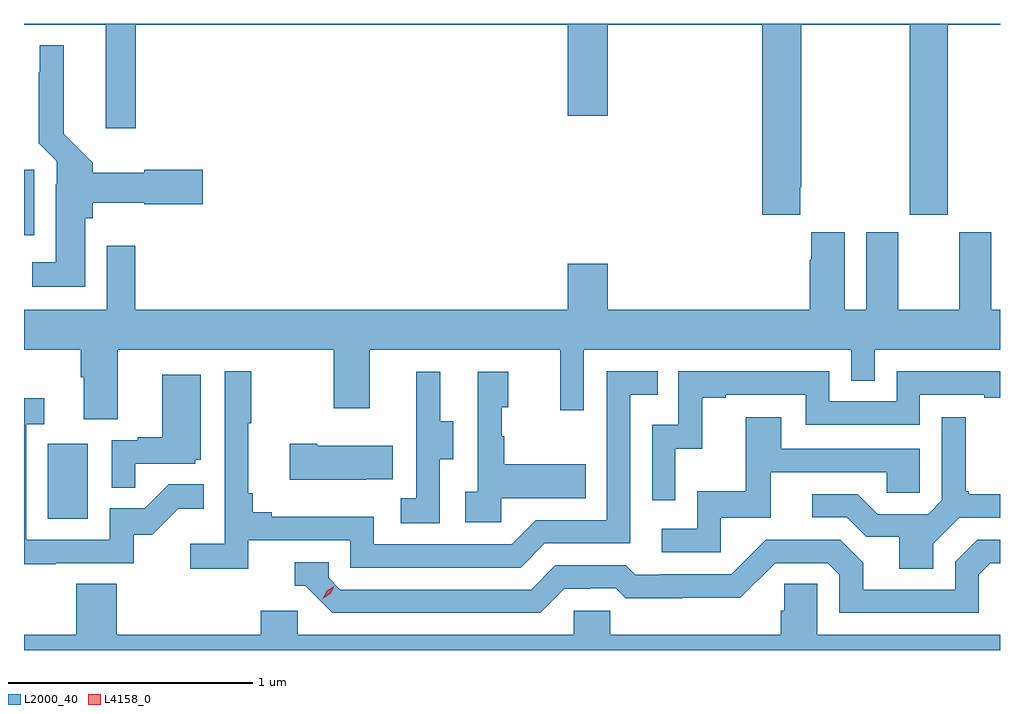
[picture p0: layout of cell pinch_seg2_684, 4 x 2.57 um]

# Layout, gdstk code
import gdstk
lib = gdstk.Library(unit=1e-6, precision=1e-09)
def R(c, l, rs):  # rectangles x0, y0, x1, y1
    for r in rs: c.add(gdstk.rectangle(r[:2], r[2:], *l))
def P(c, l, *ps):  # polygons
    for p in ps: c.add(gdstk.Polygon(p, *l))
L2000_40 = (2000, 40)
L4158_0 = (4158, 0)

pinch_seg2_684 = lib.new_cell('pinch_seg2_684')
R(pinch_seg2_684, L2000_40, [(1085.954,584.34,1086.118,584.647), (1085.856,585.501,1085.899,585.769)])
P(pinch_seg2_684, L2000_40, [(1089.037,585.697),(1089.042,585.697),(1089.042,586.364),(1089.487,586.364),(1089.487,585.585),(1089.642,585.585),(1089.642,586.364),(1089.856,586.364),(1089.856,586.368),(1085.856,586.368),(1085.856,586.364),(1086.191,586.364),(1086.191,585.939),(1086.314,585.939),(1086.314,586.364),(1088.084,586.364),(1088.084,585.99),(1088.248,585.99),(1088.248,586.364),(1088.882,586.364),(1088.882,585.585),(1089.037,585.585)],
  [(1086.106,585.57),(1086.137,585.57),(1086.137,585.635),(1086.348,585.635),(1086.348,585.628),(1086.589,585.628),(1086.589,585.77),(1086.348,585.77),(1086.348,585.757),(1086.137,585.757),(1086.137,585.798),(1086.019,585.916),(1086.019,586.279),(1085.921,586.279),(1085.921,586.169),(1085.917,586.169),(1085.917,585.878),(1085.991,585.804),(1085.991,585.71),(1085.987,585.71),(1085.987,585.391),(1085.889,585.391),(1085.889,585.29),(1086.106,585.29)],
  [(1088.151,585.032),(1089.246,585.032),(1089.246,584.905),(1089.342,584.905),(1089.342,585.032),(1089.856,585.032),(1089.856,585.196),(1089.82,585.196),(1089.82,585.514),(1089.689,585.514),(1089.689,585.196),(1089.439,585.196),(1089.439,585.514),(1089.308,585.514),(1089.308,585.196),(1089.22,585.196),(1089.22,585.514),(1089.083,585.514),(1089.083,585.401),(1089.077,585.401),(1089.077,585.196),(1088.248,585.196),(1088.248,585.385),(1088.084,585.385),(1088.084,585.196),(1086.311,585.196),(1086.311,585.457),(1086.195,585.457),(1086.195,585.196),(1085.856,585.196),(1085.856,585.032),(1086.089,585.032),(1086.089,584.92),(1086.101,584.92),(1086.101,584.746),(1086.241,584.746),(1086.241,585.032),(1087.126,585.032),(1087.126,584.793),(1087.273,584.793),(1087.273,585.032),(1088.054,585.032),(1088.054,584.784),(1088.151,584.784)],
  [(1086.776,584.25),(1087.194,584.25),(1087.194,584.139),(1087.891,584.139),(1087.99,584.238),(1088.34,584.238),(1088.34,584.847),(1088.453,584.847),(1088.453,584.943),(1088.244,584.943),(1088.244,584.334),(1087.953,584.334),(1087.854,584.235),(1087.29,584.235),(1087.29,584.347),(1086.871,584.347),(1086.871,584.366),(1086.794,584.366),(1086.794,584.443),(1086.775,584.443),(1086.775,584.731),(1086.787,584.731),(1086.787,584.944),(1086.678,584.944),(1086.678,584.236),(1086.537,584.236),(1086.537,584.134),(1086.776,584.134)],
  [(1088.526,584.627),(1088.636,584.627),(1088.636,584.835),(1088.731,584.835),(1088.731,584.847),(1089.06,584.847),(1089.06,584.724),(1089.528,584.724),(1089.528,584.847),(1089.791,584.847),(1089.791,584.835),(1089.856,584.835),(1089.856,584.943),(1089.432,584.943),(1089.432,584.82),(1089.156,584.82),(1089.156,584.943),(1088.538,584.943),(1088.538,584.724),(1088.43,584.724),(1088.43,584.415),(1088.526,584.415)],
  [(1087.812,584.423),(1088.159,584.423),(1088.159,584.563),(1087.825,584.563),(1087.825,584.678),(1087.815,584.678),(1087.815,584.796),(1087.84,584.796),(1087.84,584.941),(1087.716,584.941),(1087.716,584.45),(1087.665,584.45),(1087.665,584.325),(1087.812,584.325)],
  [(1087.56,584.584),(1087.615,584.584),(1087.615,584.739),(1087.561,584.739),(1087.561,584.941),(1087.463,584.941),(1087.463,584.727),(1087.464,584.727),(1087.464,584.423),(1087.401,584.423),(1087.401,584.32),(1087.56,584.32)],
  [(1086.311,584.565),(1086.558,584.565),(1086.558,584.58),(1086.58,584.58),(1086.58,584.929),(1086.422,584.929),(1086.422,584.674),(1086.323,584.674),(1086.323,584.661),(1086.216,584.661),(1086.216,584.467),(1086.311,584.467)],
  [(1085.987,584.157),(1086.306,584.157),(1086.306,584.274),(1086.382,584.274),(1086.489,584.381),(1086.593,584.381),(1086.593,584.48),(1086.449,584.48),(1086.351,584.382),(1086.207,584.382),(1086.207,584.253),(1085.865,584.253),(1085.865,584.727),(1085.938,584.727),(1085.938,584.833),(1085.856,584.833),(1085.856,584.152),(1085.987,584.152)],
  [(1088.712,584.343),(1088.917,584.343),(1088.917,584.529),(1089.391,584.529),(1089.391,584.445),(1089.528,584.445),(1089.528,584.625),(1088.959,584.625),(1088.959,584.755),(1088.815,584.755),(1088.815,584.452),(1088.616,584.452),(1088.616,584.298),(1088.469,584.298),(1088.469,584.202),(1088.712,584.202)],
  [(1089.583,584.236),(1089.69,584.343),(1089.856,584.343),(1089.856,584.44),(1089.727,584.44),(1089.727,584.452),(1089.715,584.452),(1089.715,584.755),(1089.618,584.755),(1089.618,584.415),(1089.561,584.358),(1089.355,584.358),(1089.274,584.439),(1089.087,584.439),(1089.087,584.346),(1089.228,584.346),(1089.308,584.266),(1089.443,584.266),(1089.443,584.134),(1089.583,584.134)],
  [(1087.259,584.501),(1087.367,584.501),(1087.367,584.638),(1087.057,584.638),(1087.057,584.646),(1086.945,584.646),(1086.945,584.498),(1087.259,584.498)],
  [(1088.071,584.052),(1088.178,584.052),(1088.178,584.055),(1088.281,584.055),(1088.323,584.013),(1088.556,584.013),(1088.556,584.015),(1088.792,584.015),(1088.934,584.157),(1089.15,584.157),(1089.198,584.109),(1089.198,583.953),(1089.768,583.953),(1089.768,584.109),(1089.816,584.157),(1089.856,584.157),(1089.856,584.253),(1089.762,584.253),(1089.672,584.163),(1089.672,584.049),(1089.295,584.049),(1089.295,584.159),(1089.201,584.253),(1088.895,584.253),(1088.754,584.112),(1088.461,584.112),(1088.461,584.109),(1088.362,584.109),(1088.323,584.148),(1088.034,584.148),(1087.935,584.049),(1087.152,584.049),(1087.104,584.097),(1087.104,584.16),(1086.965,584.16),(1086.965,584.064),(1087.008,584.064),(1087.119,583.953),(1087.972,583.953)],
  [(1088.109,583.864),(1086.978,583.864),(1086.978,583.962),(1086.827,583.962),(1086.827,583.864),(1086.236,583.864),(1086.236,584.072),(1086.071,584.072),(1086.071,583.864),(1085.856,583.864),(1085.856,583.8),(1089.856,583.8),(1089.856,583.864),(1089.108,583.864),(1089.108,584.072),(1088.971,584.072),(1088.971,583.962),(1088.957,583.962),(1088.957,583.864),(1088.259,583.864),(1088.259,583.962),(1088.109,583.962)])
P(pinch_seg2_684, L4158_0, [(1087.08,584.012),(1087.08,584.012),(1087.096,584.044),(1087.128,584.063),(1087.128,584.063),(1087.128,584.063),(1087.111,584.031),(1087.08,584.012)])

lib.write_gds('pinch_seg2_684.gds')
